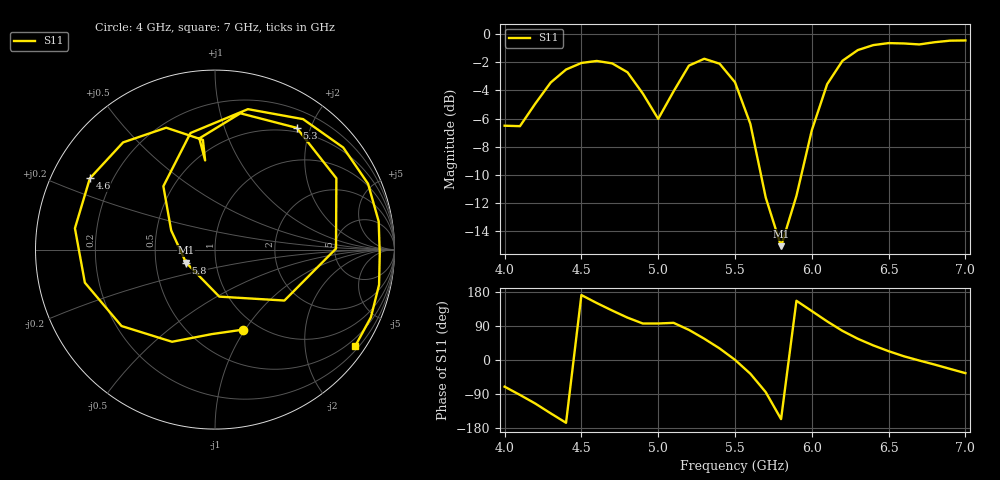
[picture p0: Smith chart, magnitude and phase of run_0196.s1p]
! Touchstone file exported from HFSS 2024.2.0
!  File:  C:/Users/wsak9/Desktop/Sim Fast/Widenad Patch/WP_AI_V1_sweep.aedt
!  Generated:  11:07:58 PM Oct 13, 2026
!  Design:  A1_model
!  Project:  WP_AI_V1_sweep
!  Setup:  Setup1
!  Solution:  Sweep
! Variables:
!  Air_gap = 3.14mm
!  Curve_Amp1 = 3.59
!  Curve_len1 = 1
!  Curve_pos = 12.475mm
!  Extra = 4.03mm
!  H_sub = 0.79mm
!  L_Patch = 20.95mm
!  L_Patch1 = 19.34mm
!  Sx = 2.48mm
!  Sy = 0.72mm
!  WS = 1.13mm
!  W_Patch = 22.74mm
!  W_Patch1 = 15.31mm
!Data is not renormalized
# GHz S MA
! Terminal data exported
! Port[1] = 1
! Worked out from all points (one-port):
!   31 points, 4 GHz to 7 GHz, reference per port
!   lowest |S11| = -15.0 dB at 5.8 GHz (marker M1), VSWR 1.43
!   |S11| at or under -10 dB: 5.669 GHz to 5.932 GHz (262.4 MHz wide, 4.52 % of centre)
!   S11 on the Smith chart (normalised r, x): 4 GHz: 0.86, -0.98; 4.6 GHz: 0.12, +0.26; 5.3 GHz: 0.44, +1.79; 5.8 GHz: 0.72, -0.11; 7 GHz: 0.30, -3.18
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4  0.4729 -70.4
4.2  0.5665 -115.0
4.3  0.6727 -140.7
4.4  0.748 -165.7
4.5  0.7894 171.4
4.6  0.8023 150.3
4.7  0.7868 130.6
4.8  0.7316 111.8
4.9  0.6147 96.3
5  0.4998 96.3
5.1  0.6257 98.0
5.2  0.7724 79.5
5.3  0.8169 56.1
5.4  0.7843 30.4
5.5  0.6742 0.5
5.6  0.4797 -36.3
5.7  0.2631 -84.8
5.8  0.1768 -156.0
5.9  0.2667 156.3
6  0.4554 129.2
6.1  0.6638 101.9
6.2  0.8037 76.8
6.3  0.877 56.0
6.4  0.9131 38.5
6.5  0.9282 23.3
6.7  0.9182 -1.4
6.9  0.9469 -23.5
7  0.9485 -34.7
